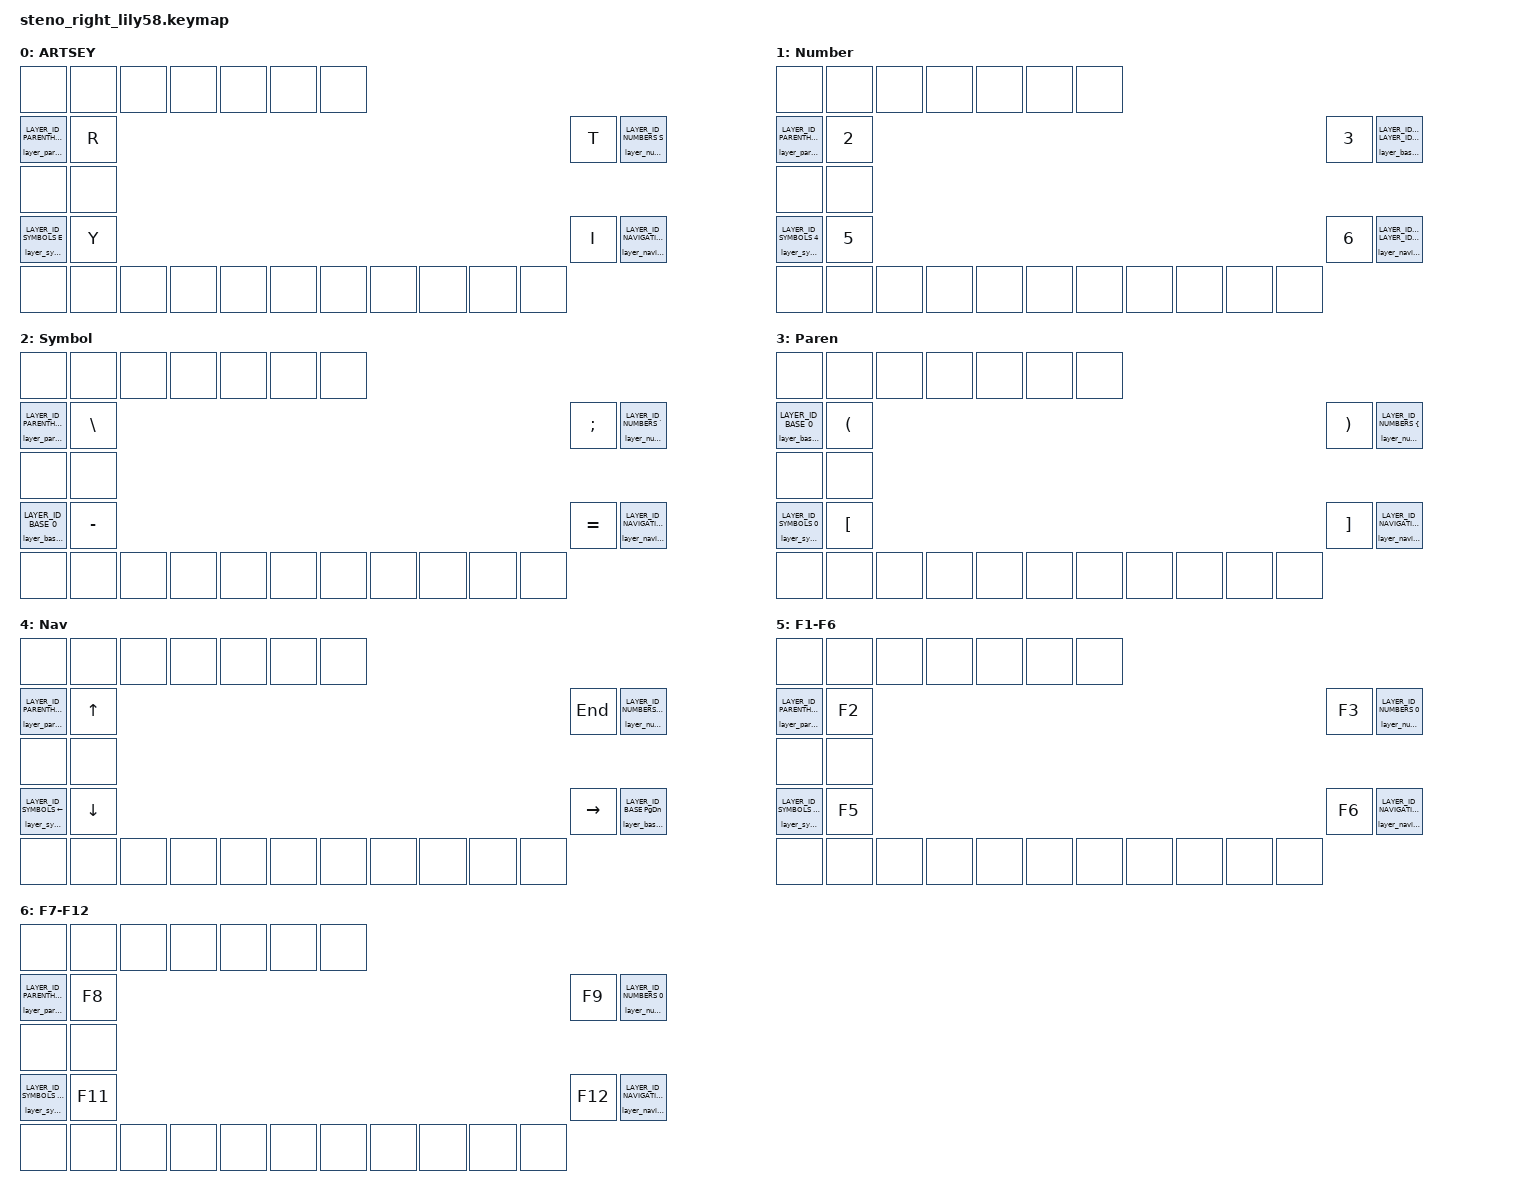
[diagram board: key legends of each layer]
/*
 * Copyright (c) 2020 The ZMK Contributors
 *
 * SPDX-License-Identifier: MIT
 */

#include <behaviors.dtsi>
#include <dt-bindings/zmk/keys.h>

// ARTS Row
#define KEY_A 7
#define KEY_R 8
#define KEY_T 9
#define KEY_S 10
// EYIO Row
#define KEY_E 13
#define KEY_Y 14
#define KEY_I 15
#define KEY_O 16

#include "../../../artsey.dtsi"

/ {
	keymap {
		compatible = "zmk,keymap";
		base {
			label = "ARTSEY";
			bindings = <
				&none &none &none &none &none &none &none
				&layer_parentheticals_kp LAYER_ID_PARENTHETICALS A    &kp R     &kp T     &layer_numbers_kp LAYER_ID_NUMBERS S
				&none &none
				&layer_symbols_kp LAYER_ID_SYMBOLS E                  &kp Y     &kp I     &layer_navigation_kp LAYER_ID_NAVIGATION O
				&none &none &none &none &none &none &none &none &none &none &none
			>;
		};
		numbers {
			label = "Number";
			bindings = <
				&none &none &none &none &none &none &none
				&layer_parentheticals_kp LAYER_ID_PARENTHETICALS N1   &kp N2    &kp N3    &layer_base_sl LAYER_ID_BASE LAYER_ID_F_ONE_SIX
				&none &none
				&layer_symbols_kp LAYER_ID_SYMBOLS N4                 &kp N5    &kp N6    &layer_navigation_sl LAYER_ID_NAVIGATION LAYER_ID_F_SEVEN_TWELVE
				&none &none &none &none &none &none &none &none &none &none &none
			>;
		};
		symbols {
			label = "Symbol";
			bindings = <
				&none &none &none &none &none &none &none
				&layer_parentheticals_none LAYER_ID_PARENTHETICALS 0  &kp BSLH  &kp SEMI  &layer_numbers_kp LAYER_ID_NUMBERS GRAVE
				&none &none
				&layer_base_none LAYER_ID_BASE 0                      &kp MINUS &kp EQUAL &layer_navigation_none LAYER_ID_NAVIGATION 0
				&none &none &none &none &none &none &none &none &none &none &none
			>;
		};
		parentheticals {
			label = "Paren";
			bindings = <
				&none &none &none &none &none &none &none
				&layer_base_none LAYER_ID_BASE 0                      &kp LPAR  &kp RPAR  &layer_numbers_kp LAYER_ID_NUMBERS LBRC
				&none &none
				&layer_symbols_none LAYER_ID_SYMBOLS 0                &kp LBKT  &kp RBKT  &layer_navigation_kp LAYER_ID_NAVIGATION RBRC
				&none &none &none &none &none &none &none &none &none &none &none
			>;
		};
		navigation {
			label = "Nav";
			bindings = <
				&none &none &none &none &none &none &none
				&layer_parentheticals_kp LAYER_ID_PARENTHETICALS HOME &kp UP    &kp END   &layer_numbers_none LAYER_ID_NUMBERS PG_UP
				&none &none
				&layer_symbols_kp LAYER_ID_SYMBOLS LEFT               &kp DOWN  &kp RIGHT &layer_base_none LAYER_ID_BASE PG_DN
				&none &none &none &none &none &none &none &none &none &none &none
			>;
		};
		f_one_to_six{
			label = "F1-F6";
			bindings = <
				&none &none &none &none &none &none &none
				&layer_parentheticals_kp LAYER_ID_PARENTHETICALS F1   &kp F2    &kp F3    &layer_numbers_none LAYER_ID_NUMBERS 0
				&none &none
				&layer_symbols_kp LAYER_ID_SYMBOLS F4                 &kp F5    &kp F6    &layer_navigation_none LAYER_ID_NAVIGATION 0
				&none &none &none &none &none &none &none &none &none &none &none
			>;
		};
		f_seven_to_twelve {
			label = "F7-F12";
			bindings = <
				&none &none &none &none &none &none &none
				&layer_parentheticals_kp LAYER_ID_PARENTHETICALS F7   &kp F8    &kp F9    &layer_numbers_none LAYER_ID_NUMBERS 0
				&none &none
				&layer_symbols_kp LAYER_ID_SYMBOLS F10                &kp F11   &kp F12   &layer_navigation_none LAYER_ID_NAVIGATION 0
				&none &none &none &none &none &none &none &none &none &none &none
			>;
		};
	};
};
